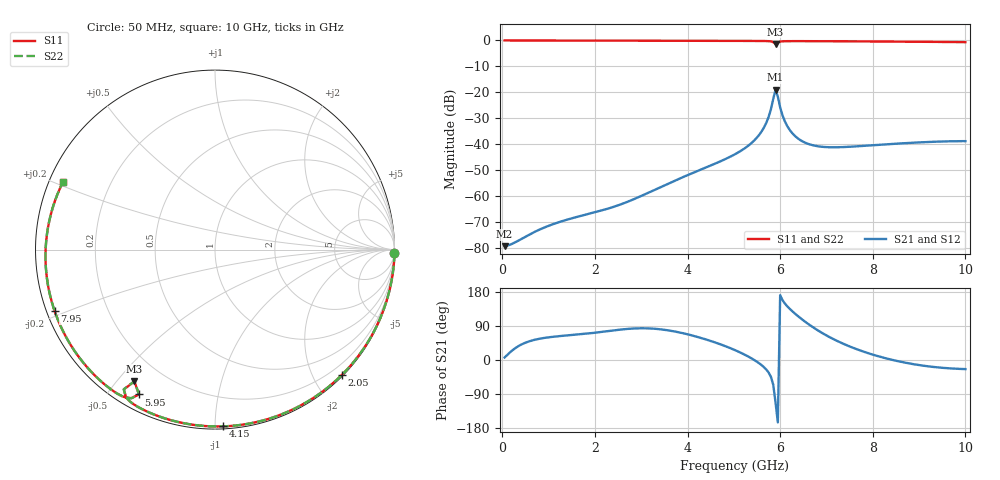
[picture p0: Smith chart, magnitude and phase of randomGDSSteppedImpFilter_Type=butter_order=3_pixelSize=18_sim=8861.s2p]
! freq	dB(S11)	phase(S11)	dB(S12)	phase(S12)
!  dB(S21)	phase(S21)	dB(S22)	phase(S22)
!S-par simulation data
#  GHz  S  DB  R 50
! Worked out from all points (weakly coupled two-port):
!   200 points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, 50 MHz to 10 GHz, reference 50 ohm
!   highest |S21| = -19.04 dB at 5.9 GHz (marker M1); lowest = -79.4 dB at 50 MHz (marker M2)
!   lowest |S11| = -1.3 dB at 5.9 GHz (marker M3), VSWR 13.34, Z = 4.92 - j27.8 ohm
!   |S11| at or under -10 dB: nowhere
!   |S22| runs from -1.3 to 0.0 dB; largest |S21 - S12| = 0
!   S11 on the Smith chart (normalised r, x): 50 MHz: open; 2.05 GHz: 0.02, -2.43; 4.15 GHz: 0.01, -1.05; 5.95 GHz: 0.06, -0.60; 7.95 GHz: 0.02, -0.18; 10 GHz: 0.04, +0.21
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0.05  -0.00 -1.1  -79.36 6.6  -79.36 6.6  -0.00 -1.1
0.95  -0.03 -21.0  -71.86 59.0  -71.86 59.0  -0.03 -21.0
1.75  -0.05 -38.3  -67.44 68.7  -67.44 68.7  -0.05 -38.3
2.05  -0.06 -44.7  -66.05 72.7  -66.05 72.7  -0.06 -44.7
3.4  -0.10 -72.5  -56.72 81.2  -56.72 81.2  -0.10 -72.5
4.15  -0.12 -87.3  -50.84 63.1  -50.84 63.1  -0.12 -87.3
5.05  -0.16 -104.7  -43.65 24.7  -43.65 24.7  -0.16 -104.7
5.35  -0.18 -110.6  -40.05 6.5  -40.05 6.5  -0.18 -110.6
5.6  -0.21 -115.8  -35.08 -13.7  -35.08 -13.7  -0.21 -115.8
5.75  -0.27 -119.5  -29.55 -32.9  -29.55 -32.9  -0.28 -119.5
5.85  -0.63 -123.1  -22.62 -64.8  -22.62 -64.8  -0.64 -123.2
5.9  -1.31 -121.4  -19.04 -111.8  -19.04 -111.8  -1.32 -121.5
5.95  -0.80 -117.7  -21.69 -164.8  -21.69 -164.8  -0.81 -117.7
6.05  -0.33 -121.0  -28.86 158.2  -28.86 158.2  -0.34 -121.0
6.2  -0.26 -124.8  -34.35 135.8  -34.35 135.8  -0.26 -124.8
6.4  -0.26 -129.0  -38.02 114.3  -38.02 114.3  -0.26 -129.0
6.7  -0.27 -134.8  -40.41 87.2  -40.41 87.2  -0.27 -134.8
7.15  -0.31 -143.5  -41.21 55.1  -41.21 55.1  -0.31 -143.5
7.95  -0.38 -159.0  -40.49 16.1  -40.49 16.1  -0.38 -159.1
8.35  -0.43 -167.1  -40.00 2.4  -40.00 2.4  -0.43 -167.1
9.2  -0.54 174.8  -39.17 -16.8  -39.17 -16.8  -0.54 174.8
10  -0.66 156.0  -38.84 -24.0  -38.84 -24.0  -0.66 156.0
